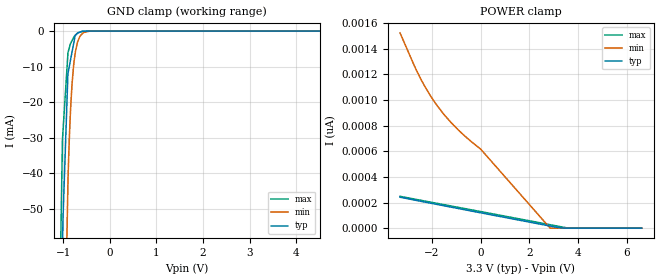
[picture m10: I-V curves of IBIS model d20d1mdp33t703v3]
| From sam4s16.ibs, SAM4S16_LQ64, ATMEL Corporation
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[Model] d20d1mdp33t703v3
| config_pins "NO PIN CONFIG TO SEARCH"
Model_type   Input
Vinl = 0.8
Vinh = 2.0
|   typ   min   max
C_comp   2.029e-12   1.977e-12   2.090e-12
|C_comp (ON state)   2.029e-12   1.977e-12   2.090e-12
|C_comp (OFF state)   2.029e-12   1.977e-12   2.090e-12
[Voltage Range]   3.3   2.85   3.6
[Temperature Range]   25   125   -40
[Power Clamp Reference]   3.3   2.85   3.6
[GND Clamp Reference]   0   0   0
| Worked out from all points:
|   GND clamp passes 1 mA (typ) near -0.72 V on its own axis
[GND Clamp]
|   Voltage   I(typ)   I(min)   I(max)
-3.3V     -4.363A    -4.346A    -4.386A
-1.102V   -147.5mA   -225.9mA   -98.33mA
-1.01V    -57.09mA   -122.6mA   -29.51mA
-897.6mV  -11.97mA   -43.04mA   -6.287mA
-883.5mV  -10.99mA   -36.29mA   -5.433mA
-855mV    -9.031mA   -26.09mA   -4.095mA
-809.4mV  -5.89mA    -14.92mA   -2.672mA
-775.2mV  -3.535mA   -9.617mA   -1.811mA
-735.3mV  -1.183mA   -5.665mA   -1.104mA
-680.4mV  -504.3uA   -2.727mA   -436.8uA
-438.9mV  -1.625uA   -31.39uA   -19.85uA
6.6V      0A         0A         0A
[POWER Clamp]
|   Voltage   I(typ)   I(min)   I(max)
-3.3V     241.6pA    1.524nA    248.4pA
-2.747V   220.9pA    1.282nA    228.5pA
-2.431V   209.1pA    1.158nA    217.1pA
-2.095V   196.6pA    1.046nA    205pA
-1.73V    183.2pA    943.7pA    191.9pA
-1.197V   163.6pA    821.8pA    172.7pA
-894.9mV  152.5pA    763.3pA    161.8pA
0V        120pA      617.7pA    129.6pA
2.85V     16.36pA    0A         27pA
3.6V      0A         0A         0A
6.6V      0A         0A         0A
